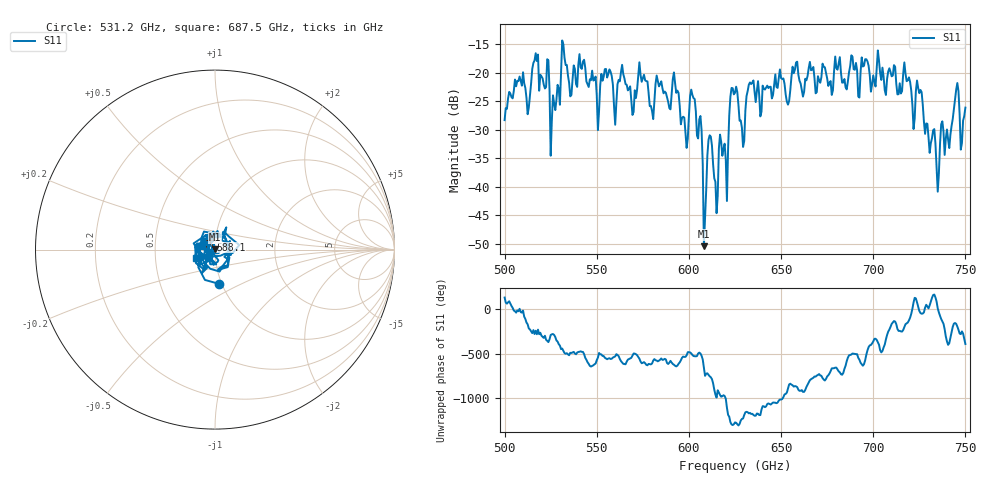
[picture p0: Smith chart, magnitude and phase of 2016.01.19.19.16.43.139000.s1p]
!Created with skrf (http://scikit-rf.org).
# GHz S RI R 50.0
!freq ReS11 ImS11
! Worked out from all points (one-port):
!   401 points, 500 GHz to 750 GHz, reference 50 ohm
!   lowest |S11| = -50.5 dB at 608.1 GHz (marker M1), VSWR 1.01, Z = 50.1 + j0.267 ohm
!   |S11| at or under -10 dB: start of sweep to end of sweep
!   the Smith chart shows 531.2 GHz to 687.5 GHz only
!   S11 on the Smith chart (normalised r, x): 531.2 GHz: 0.97, -0.39; 588.1 GHz: 0.94, +0.10; 687.5 GHz: 0.81, -0.08
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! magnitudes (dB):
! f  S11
! 500 GHz  -28.3
! 506.9 GHz  -21.4
! 513.1 GHz  -26.1
! 516.9 GHz  -16.5
! 526.2 GHz  -24.0
! 531.2 GHz  -14.3
! 550.6 GHz  -30.1
! 562.5 GHz  -21.5
! 588.1 GHz  -24.3
! 593.8 GHz  -23.1
! 598.1 GHz  -30.5
! 602.5 GHz  -24.4
! 606.2 GHz  -27.6
! 608.1 GHz  -50.5
! 611.2 GHz  -31.0
! 614.4 GHz  -39.2
! 617.5 GHz  -32.1
! 620 GHz  -35.3
! 625 GHz  -23.5
! 628.8 GHz  -29.6
! 633.8 GHz  -22.0
! 656.2 GHz  -18.9
! 687.5 GHz  -18.8
! 718.8 GHz  -21.3
! 735 GHz  -40.9
! 745 GHz  -23.0
! 748.1 GHz  -32.3
! 750 GHz  -26.1
